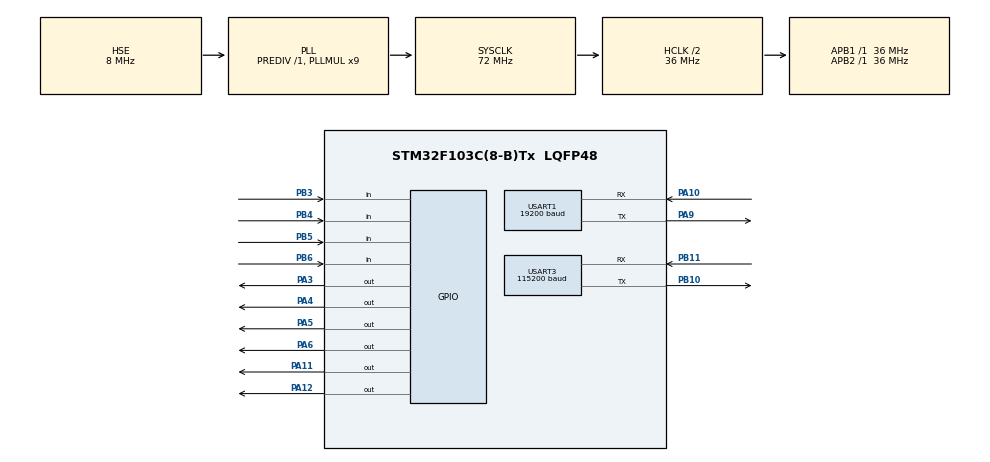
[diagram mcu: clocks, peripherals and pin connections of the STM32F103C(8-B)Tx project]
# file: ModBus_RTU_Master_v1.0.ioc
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Dma.Request0=USART3_TX
Dma.Request1=USART3_RX
Dma.USART3_RX.1.Direction=DMA_PERIPH_TO_MEMORY
Dma.USART3_RX.1.Instance=DMA1_Channel3
Dma.USART3_RX.1.MemDataAlignment=DMA_MDATAALIGN_BYTE
Dma.USART3_RX.1.MemInc=DMA_MINC_ENABLE
Dma.USART3_RX.1.Mode=DMA_NORMAL
Dma.USART3_RX.1.PeriphDataAlignment=DMA_PDATAALIGN_BYTE
Dma.USART3_RX.1.PeriphInc=DMA_PINC_DISABLE
Dma.USART3_RX.1.Priority=DMA_PRIORITY_LOW
Dma.USART3_TX.0.Direction=DMA_MEMORY_TO_PERIPH
Dma.USART3_TX.0.Instance=DMA1_Channel2
Dma.USART3_TX.0.MemDataAlignment=DMA_MDATAALIGN_BYTE
Dma.USART3_TX.0.MemInc=DMA_MINC_ENABLE
Dma.USART3_TX.0.Mode=DMA_NORMAL
Dma.USART3_TX.0.PeriphDataAlignment=DMA_PDATAALIGN_BYTE
Dma.USART3_TX.0.PeriphInc=DMA_PINC_DISABLE
Dma.USART3_TX.0.Priority=DMA_PRIORITY_LOW
Mcu.Family=STM32F1
Mcu.Name=STM32F103C(8-B)Tx
Mcu.Package=LQFP48
NVIC.DMA1_Channel2_IRQn=true\:0\:0\:false\:false\:true\:false\:true\:true
NVIC.DMA1_Channel3_IRQn=true\:0\:0\:false\:false\:true\:false\:true\:true
NVIC.PriorityGroup=NVIC_PRIORITYGROUP_4
NVIC.USART1_IRQn=true\:0\:0\:false\:false\:true\:true\:true\:true
NVIC.USART3_IRQn=true\:0\:0\:false\:false\:true\:true\:true\:true
PA10.Mode=Asynchronous
PA10.Signal=USART1_RX
PA11.GPIO_Speed=GPIO_SPEED_FREQ_HIGH
PA11.Signal=GPIO_Output
PA12.GPIO_Speed=GPIO_SPEED_FREQ_HIGH
PA12.Signal=GPIO_Output
PA13.Mode=Serial_Wire
PA13.Signal=SYS_JTMS-SWDIO
PA14.Mode=Serial_Wire
PA14.Signal=SYS_JTCK-SWCLK
PA3.GPIO_Speed=GPIO_SPEED_FREQ_HIGH
PA3.Signal=GPIO_Output
PA4.GPIO_Speed=GPIO_SPEED_FREQ_HIGH
PA4.Signal=GPIO_Output
PA5.GPIO_Speed=GPIO_SPEED_FREQ_HIGH
PA5.Signal=GPIO_Output
PA6.GPIO_Speed=GPIO_SPEED_FREQ_HIGH
PA6.Signal=GPIO_Output
PA9.Mode=Asynchronous
PA9.Signal=USART1_TX
PB10.Mode=Asynchronous
PB10.Signal=USART3_TX
PB11.Mode=Asynchronous
PB11.Signal=USART3_RX
PB3.Signal=GPIO_Input
PB4.Signal=GPIO_Input
PB5.Signal=GPIO_Input
PB6.Signal=GPIO_Input
PD0-OSC_IN.Mode=HSE-External-Oscillator
PD0-OSC_IN.Signal=RCC_OSC_IN
PD1-OSC_OUT.Mode=HSE-External-Oscillator
PD1-OSC_OUT.Signal=RCC_OSC_OUT
ProjectManager.HeapSize=0x200
ProjectManager.StackSize=0x400
ProjectManager.TargetToolchain=MDK-ARM V5.27
RCC.AHBCLKDivider=RCC_SYSCLK_DIV2
RCC.AHBFreq_Value=36000000
RCC.APB1Freq_Value=36000000
RCC.APB1TimFreq_Value=36000000
RCC.APB2Freq_Value=36000000
RCC.APB2TimFreq_Value=36000000
RCC.HCLKFreq_Value=36000000
RCC.PLLMUL=RCC_PLL_MUL9
RCC.PLLSourceVirtual=RCC_PLLSOURCE_HSE
RCC.SYSCLKFreq_VALUE=72000000
RCC.SYSCLKSource=RCC_SYSCLKSOURCE_PLLCLK
RCC.USBFreq_Value=72000000
USART1.BaudRate=19200
USART1.VirtualMode=VM_ASYNC
USART3.BaudRate=115200
USART3.VirtualMode=VM_ASYNC
board=custom

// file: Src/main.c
/* USER CODE BEGIN Header */
/**
  ******************************************************************************
  * @file           : main.c
  * @brief          : Main program body
  ******************************************************************************
  * @attention
  *
  * <h2><center>&copy; Copyright (c) 2020 STMicroelectronics.
  * All rights reserved.</center></h2>
  *
  * This software component is licensed by ST under BSD 3-Clause license,
  * the "License"; You may not use this file except in compliance with the
  * License. You may obtain a copy of the License at:
  *                        opensource.org/licenses/BSD-3-Clause
  *
  ******************************************************************************
  */
/* USER CODE END Header */

#include "main.h"
#include "dma.h"
#include "usart.h"
#include "gpio.h"

/* USER CODE BEGIN Includes */
#include "stm32f1xx_it.h"
#include "bsp_modbus_master.h"
#include "bsp.h"
#include <stdio.h>
#include <string.h>
/* USER CODE END Includes */

/* USER CODE BEGIN PV */
uint8_t Uart1_RxBuffer = 0;
uint8_t Uart1_TxBuffer = 0;
uint32_t data[32];
char buffer[128];
int len;
float temp = 53.8;
float V1N = 0, V2N = 0, V3N = 0, VAvg = 0;
uint16_t Error = 0;

/* USER CODE END PV */

void SystemClock_Config(void);
/* USER CODE BEGIN PFP */
void test2(void);

/* USER CODE END PFP */

int main(void)
{

  /* MCU Configuration--------------------------------------------------------*/

  /* Reset of all peripherals, Initializes the Flash interface and the Systick. */
  HAL_Init();

  /* Configure the system clock */
  SystemClock_Config();

  /* Initialize all configured peripherals */
  MX_GPIO_Init();
  MX_DMA_Init();
  MX_USART1_UART_Init();
  MX_USART3_UART_Init();
  /* USER CODE BEGIN 2 */
  HAL_UART_Receive_IT(&huart1, &Uart1_RxBuffer, 1);
  bsp_modbus_master_init();
  /* USER CODE END 2 */

  /* Infinite loop */
  while (1)
  {

    /* USER CODE BEGIN 3 */
    data[0] = 0;
    data[1] = 0;
    data[2] = 0;
    data[3] = 0;
    data[4] = 0;
    data[5] = 0;
    data[6] = 0;
    data[7] = 0;
    test2();
  }
  /* USER CODE END 3 */
}

void SystemClock_Config(void)
{
  RCC_OscInitTypeDef RCC_OscInitStruct = {0};
  RCC_ClkInitTypeDef RCC_ClkInitStruct = {0};

  /** Initializes the CPU, AHB and APB busses clocks
  */
  RCC_OscInitStruct.OscillatorType = RCC_OSCILLATORTYPE_HSE;
  RCC_OscInitStruct.HSEState = RCC_HSE_ON;
  RCC_OscInitStruct.HSEPredivValue = RCC_HSE_PREDIV_DIV1;
  RCC_OscInitStruct.HSIState = RCC_HSI_ON;
  RCC_OscInitStruct.PLL.PLLState = RCC_PLL_ON;
  RCC_OscInitStruct.PLL.PLLSource = RCC_PLLSOURCE_HSE;
  RCC_OscInitStruct.PLL.PLLMUL = RCC_PLL_MUL9;
  if (HAL_RCC_OscConfig(&RCC_OscInitStruct) != HAL_OK)
  {
    Error_Handler();
  }
  /** Initializes the CPU, AHB and APB busses clocks
  */
  RCC_ClkInitStruct.ClockType = RCC_CLOCKTYPE_HCLK|RCC_CLOCKTYPE_SYSCLK
                              |RCC_CLOCKTYPE_PCLK1|RCC_CLOCKTYPE_PCLK2;
  RCC_ClkInitStruct.SYSCLKSource = RCC_SYSCLKSOURCE_PLLCLK;
  RCC_ClkInitStruct.AHBCLKDivider = RCC_SYSCLK_DIV2;
  RCC_ClkInitStruct.APB1CLKDivider = RCC_HCLK_DIV1;
  RCC_ClkInitStruct.APB2CLKDivider = RCC_HCLK_DIV1;

  if (HAL_RCC_ClockConfig(&RCC_ClkInitStruct, FLASH_LATENCY_2) != HAL_OK)
  {
    Error_Handler();
  }
}

/* USER CODE BEGIN 4 */
void test2(void)
{
  uint32_t temp = 0;

  bsp_rs485_enable_receive(false);
  bsp_rs485_enable_transmit(true);
  if (bsp_modbus_master_read_input_register(0x01, 0x0000, 0x0008) == 0x00)
  {
    data[0] = bsp_modbus_master_get_response_buffer(0);
    data[1] = bsp_modbus_master_get_response_buffer(1);
    data[2] = bsp_modbus_master_get_response_buffer(2);
    data[3] = bsp_modbus_master_get_response_buffer(3);
    data[4] = bsp_modbus_master_get_response_buffer(4);
    data[5] = bsp_modbus_master_get_response_buffer(5);
    data[6] = bsp_modbus_master_get_response_buffer(6);
    data[7] = bsp_modbus_master_get_response_buffer(7);
  }
  else
  {
    Error++;
  }

  temp = data[1] | 0x00000000;
  temp = data[0] | (temp << 16);
  V1N = *(float *)&temp;

  temp = data[3] | 0x00000000;
  temp = data[2] | (temp << 16);
  V2N = *(float *)&temp;

  temp = data[5] | 0x00000000;
  temp = data[4] | (temp << 16);
  V3N = *(float *)&temp;

  temp = data[7] | 0x00000000;
  temp = data[6] | (temp << 16);
  VAvg = *(float *)&temp;

  sprintf(buffer, "V1N: %3.2f VAC - V2N: %3.2f VAC - V3N: %3.2f VAC - VAvg: %3.2f VAC - ResDelay: 200ms - Error: %d\r\n", V1N, V2N, V3N, VAvg, Error);
  len = strlen(buffer);
  HAL_UART_Transmit(&huart3, (uint8_t *)buffer, len, 100);

  HAL_Delay(200);
}

void HAL_UART_RxCpltCallback(UART_HandleTypeDef *huart)
{
  if (huart->Instance == huart1.Instance)
  {
    HAL_UART_Receive_IT(&huart1, &Uart1_RxBuffer, 1);
    if (Queue_IsFull(&modbus_master_rx_queue) == 0)
      Queue_EnQueue(&modbus_master_rx_queue, Uart1_RxBuffer);
  }
}

void HAL_UART_TxCpltCallback(UART_HandleTypeDef *huart)
{
  if (huart->Instance == huart1.Instance)
  {
    if (Queue_IsEmpty(&modbus_master_tx_queue) == 1)
    {
      modbus_complete_transmit_req = true;
      bsp_rs485_enable_receive(true);
    }
    else
    {
      Uart1_TxBuffer = Queue_DeQueue(&modbus_master_tx_queue);
      HAL_UART_Transmit_IT(&huart1, &Uart1_TxBuffer, 1);
    }
  }
}
/* USER CODE END 4 */

void Error_Handler(void)
{
}

/************************ (C) COPYRIGHT STMicroelectronics *****END OF FILE****/
